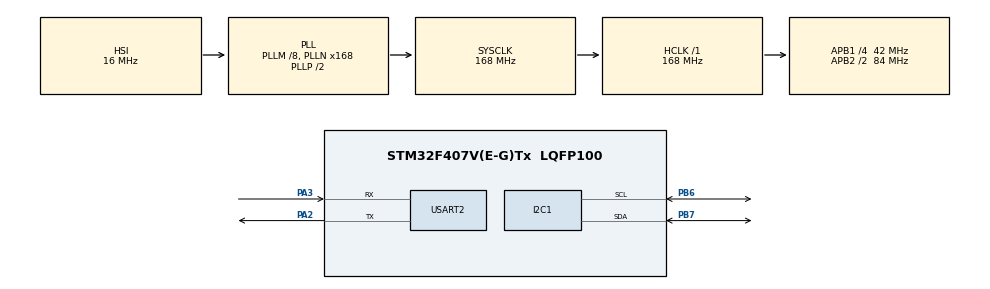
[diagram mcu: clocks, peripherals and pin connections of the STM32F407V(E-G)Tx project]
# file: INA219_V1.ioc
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Mcu.Family=STM32F4
Mcu.Name=STM32F407V(E-G)Tx
Mcu.Package=LQFP100
NVIC.PriorityGroup=NVIC_PRIORITYGROUP_0
PA2.Mode=Asynchronous
PA2.Signal=USART2_TX
PA3.Mode=Asynchronous
PA3.Signal=USART2_RX
PB6.GPIO_Pu=GPIO_PULLUP
PB6.Mode=I2C
PB6.Signal=I2C1_SCL
PB7.GPIO_Pu=GPIO_PULLUP
PB7.Mode=I2C
PB7.Signal=I2C1_SDA
ProjectManager.HeapSize=0x200
ProjectManager.StackSize=0x400
ProjectManager.TargetToolchain=STM32CubeIDE
RCC.48MHZClocksFreq_Value=48000000
RCC.AHBFreq_Value=168000000
RCC.APB1CLKDivider=RCC_HCLK_DIV4
RCC.APB1Freq_Value=42000000
RCC.APB1TimFreq_Value=84000000
RCC.APB2CLKDivider=RCC_HCLK_DIV2
RCC.APB2Freq_Value=84000000
RCC.APB2TimFreq_Value=168000000
RCC.CortexFreq_Value=168000000
RCC.HCLKFreq_Value=168000000
RCC.HSE_VALUE=8000000
RCC.HSI_VALUE=16000000
RCC.LSE_VALUE=32768
RCC.PLLM=8
RCC.PLLN=168
RCC.PLLQ=7
RCC.SYSCLKFreq_VALUE=168000000
RCC.SYSCLKSource=RCC_SYSCLKSOURCE_PLLCLK
RCC.VCOOutputFreq_Value=336000000
USART2.VirtualMode=VM_ASYNC
board=STM32F407G-DISC1

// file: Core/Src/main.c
/* USER CODE BEGIN Header */
/**
  ******************************************************************************
  * @file           : main.c
  * @brief          : Main program body
  ******************************************************************************
  * @attention
  *
  * Copyright (c) 2025 STMicroelectronics.
  * All rights reserved.
  *
  * This software is licensed under terms that can be found in the LICENSE file
  * in the root directory of this software component.
  * If no LICENSE file comes with this software, it is provided AS-IS.
  *
  ******************************************************************************
  */
/* USER CODE END Header */
#include "main.h"

/* USER CODE BEGIN Includes */
#include "ina.h"

/* USER CODE END Includes */

/* USER CODE BEGIN PM */
#define Init_OK		"INA219 INITIALIZED!!!\r\n"
#define Init_Fail	"INA219 INITIALIZATION FAILED!!!\r\n"
/* USER CODE END PM */

I2C_HandleTypeDef hi2c1;

UART_HandleTypeDef huart2;

/* USER CODE BEGIN PV */
float bus_vtg, shunt_vtg, current;
char uart_buf[100];
/* USER CODE END PV */

void SystemClock_Config(void);
static void MX_GPIO_Init(void);
static void MX_I2C1_Init(void);
static void MX_USART2_UART_Init(void);
/* USER CODE BEGIN PFP */
void Uart_Transmit(float bus, float shunt, float current);
/* USER CODE END PFP */

/* USER CODE BEGIN 0 */
void Uart_Transmit(float bus, float shunt, float current){
	int len = snprintf(uart_buf, sizeof(uart_buf), "Bus Voltage = %.2f v, Shunt Voltage = %.3f v, Current = %.3f A\r\n",bus, shunt, current);
	HAL_UART_Transmit(&huart2, (uint8_t*)uart_buf, len, HAL_MAX_DELAY);
}

#include "main.h"
#include <stdio.h>

extern I2C_HandleTypeDef hi2c1; // Update if using a different I2C instance

void scanI2C() {
    printf("Scanning I2C Bus...\r\n");
    for (uint8_t addr = 0x00; addr < 0x7F; addr++) {
        if (HAL_I2C_IsDeviceReady(&hi2c1, (addr << 1), 3, 100) == HAL_OK) {
            sprintf(uart_buf,"I2C Device Found at 0x%02X\r\n", addr);
            HAL_UART_Transmit(&huart2, (uint8_t*)uart_buf, strlen(uart_buf), HAL_MAX_DELAY);

        }
        else{
        	sprintf(uart_buf,"I2C not found.\r\n");
			HAL_UART_Transmit(&huart2, (uint8_t*)uart_buf, strlen(uart_buf), HAL_MAX_DELAY);
        }
    }
}

/* USER CODE END 0 */

int main(void)
{

  /* USER CODE BEGIN 1 */

	HAL_UART_Transmit(&huart2, (uint8_t*)"Program Started!!\r\n", strlen("Program Started!!\r\n"), HAL_MAX_DELAY);
  /* USER CODE END 1 */

  /* MCU Configuration--------------------------------------------------------*/

  /* Reset of all peripherals, Initializes the Flash interface and the Systick. */
  HAL_Init();

  /* Configure the system clock */
  SystemClock_Config();

  /* Initialize all configured peripherals */
  MX_GPIO_Init();
  MX_I2C1_Init();
  MX_USART2_UART_Init();
  /* USER CODE BEGIN 2 */
  if(INA219_init(&hi2c1) == HAL_OK){
	  scanI2C();
	  HAL_UART_Transmit(&huart2, (uint8_t*)Init_OK, strlen(Init_OK), HAL_MAX_DELAY);
  }
  else{
	  scanI2C();
	  HAL_UART_Transmit(&huart2, (uint8_t*)Init_Fail, strlen(Init_Fail), HAL_MAX_DELAY);
  	  Error_Handler();
  }
  /* USER CODE END 2 */

  /* Infinite loop */
  /* USER CODE BEGIN WHILE */
  while (1)
  {
	  bus_vtg = INA219_GetBusVoltage(&hi2c1);
	  shunt_vtg = INA219_GetShuntVoltage(&hi2c1);
	  current = INA219_GetCurrent(&hi2c1);

	  if (bus_vtg < 0 || shunt_vtg < 0 || current < 0){
		  snprintf(uart_buf,sizeof(uart_buf),"Error Reading the sensor data!!\r\n");
		  HAL_UART_Transmit(&huart2, (uint8_t*)uart_buf, strlen(uart_buf), HAL_MAX_DELAY);
	  }
	  else{
		Uart_Transmit(bus_vtg, shunt_vtg, current);
	  }
    /* USER CODE END WHILE */

    /* USER CODE BEGIN 3 */
	HAL_Delay(1000);
  }
  /* USER CODE END 3 */
}

void SystemClock_Config(void)
{
  RCC_OscInitTypeDef RCC_OscInitStruct = {0};
  RCC_ClkInitTypeDef RCC_ClkInitStruct = {0};

  /** Configure the main internal regulator output voltage
  */
  __HAL_RCC_PWR_CLK_ENABLE();
  __HAL_PWR_VOLTAGESCALING_CONFIG(PWR_REGULATOR_VOLTAGE_SCALE1);

  /** Initializes the RCC Oscillators according to the specified parameters
  * in the RCC_OscInitTypeDef structure.
  */
  RCC_OscInitStruct.OscillatorType = RCC_OSCILLATORTYPE_HSI;
  RCC_OscInitStruct.HSIState = RCC_HSI_ON;
  RCC_OscInitStruct.HSICalibrationValue = RCC_HSICALIBRATION_DEFAULT;
  RCC_OscInitStruct.PLL.PLLState = RCC_PLL_ON;
  RCC_OscInitStruct.PLL.PLLSource = RCC_PLLSOURCE_HSI;
  RCC_OscInitStruct.PLL.PLLM = 8;
  RCC_OscInitStruct.PLL.PLLN = 168;
  RCC_OscInitStruct.PLL.PLLP = RCC_PLLP_DIV2;
  RCC_OscInitStruct.PLL.PLLQ = 7;
  if (HAL_RCC_OscConfig(&RCC_OscInitStruct) != HAL_OK)
  {
    Error_Handler();
  }

  /** Initializes the CPU, AHB and APB buses clocks
  */
  RCC_ClkInitStruct.ClockType = RCC_CLOCKTYPE_HCLK|RCC_CLOCKTYPE_SYSCLK
                              |RCC_CLOCKTYPE_PCLK1|RCC_CLOCKTYPE_PCLK2;
  RCC_ClkInitStruct.SYSCLKSource = RCC_SYSCLKSOURCE_PLLCLK;
  RCC_ClkInitStruct.AHBCLKDivider = RCC_SYSCLK_DIV1;
  RCC_ClkInitStruct.APB1CLKDivider = RCC_HCLK_DIV4;
  RCC_ClkInitStruct.APB2CLKDivider = RCC_HCLK_DIV2;

  if (HAL_RCC_ClockConfig(&RCC_ClkInitStruct, FLASH_LATENCY_5) != HAL_OK)
  {
    Error_Handler();
  }
}

static void MX_I2C1_Init(void)
{

  hi2c1.Instance = I2C1;
  hi2c1.Init.ClockSpeed = 100000;
  hi2c1.Init.DutyCycle = I2C_DUTYCYCLE_2;
  hi2c1.Init.OwnAddress1 = 0;
  hi2c1.Init.AddressingMode = I2C_ADDRESSINGMODE_7BIT;
  hi2c1.Init.DualAddressMode = I2C_DUALADDRESS_DISABLE;
  hi2c1.Init.OwnAddress2 = 0;
  hi2c1.Init.GeneralCallMode = I2C_GENERALCALL_DISABLE;
  hi2c1.Init.NoStretchMode = I2C_NOSTRETCH_DISABLE;
  if (HAL_I2C_Init(&hi2c1) != HAL_OK)
  {
    Error_Handler();
  }

}

static void MX_USART2_UART_Init(void)
{

  huart2.Instance = USART2;
  huart2.Init.BaudRate = 115200;
  huart2.Init.WordLength = UART_WORDLENGTH_8B;
  huart2.Init.StopBits = UART_STOPBITS_1;
  huart2.Init.Parity = UART_PARITY_NONE;
  huart2.Init.Mode = UART_MODE_TX_RX;
  huart2.Init.HwFlowCtl = UART_HWCONTROL_NONE;
  huart2.Init.OverSampling = UART_OVERSAMPLING_16;
  if (HAL_UART_Init(&huart2) != HAL_OK)
  {
    Error_Handler();
  }

}

static void MX_GPIO_Init(void)
{

  /* GPIO Ports Clock Enable */
  __HAL_RCC_GPIOA_CLK_ENABLE();
  __HAL_RCC_GPIOB_CLK_ENABLE();

}

void Error_Handler(void)
{
  /* USER CODE BEGIN Error_Handler_Debug */
  /* User can add his own implementation to report the HAL error return state */
  __disable_irq();
  HAL_UART_Transmit(&huart2, (uint8_t*)"ERROR: System Halted!\r\n", 23, HAL_MAX_DELAY);
  while (1)
  {
	  HAL_Delay(500);
  }
  /* USER CODE END Error_Handler_Debug */
}
